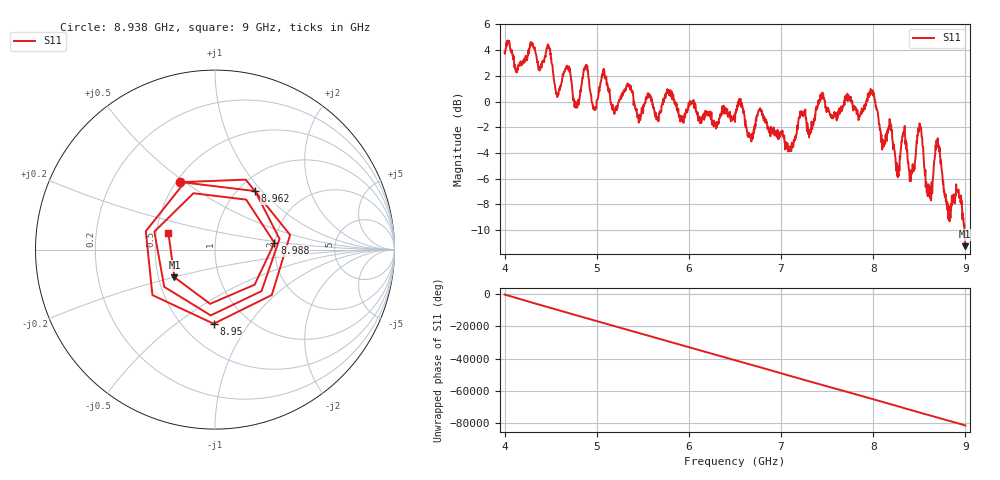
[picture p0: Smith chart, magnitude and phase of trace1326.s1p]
! Created with skrf 1.8.0 (http://scikit-rf.org).
# Hz S RI R 50.0
!freq ReS11 ImS11
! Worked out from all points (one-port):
!   1601 points, 4 GHz to 9 GHz, reference 50 ohm
!   lowest |S11| = -11.3 dB at 8.997 GHz (marker M1), VSWR 1.75, Z = 30.3 - j10.1 ohm
!   |S11| at or under -10 dB: 8.989291 GHz to end of sweep
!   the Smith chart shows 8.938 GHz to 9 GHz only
!   S11 on the Smith chart (normalised r, x): 8.938 GHz: 0.52, +0.48; 8.95 GHz: 0.70, -0.70; 8.962 GHz: 1.19, +0.92; 8.988 GHz: 1.98, +0.17; 9 GHz: 0.58, +0.11
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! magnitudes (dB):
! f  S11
! 4 GHz  3.8
! 4.475 GHz  4.4
! 4.562 GHz  0.7
! 4.625 GHz  1.8
! 4.781 GHz  -0.5
! 4.881 GHz  2.8
! 4.969 GHz  -0.5
! 5.25 GHz  0.2
! 5.875 GHz  -0.5
! 6.5 GHz  -1.6
! 7.125 GHz  -3.6
! 7.434 GHz  0.3
! 7.75 GHz  0.0
! 7.988 GHz  0.9
! 8.259 GHz  -5.3
! 8.328 GHz  -2.4
! 8.375 GHz  -4.6
! 8.422 GHz  -5.4
! 8.506 GHz  -1.8
! 8.603 GHz  -6.9
! 8.697 GHz  -3.2
! 8.812 GHz  -8.8
! 8.938 GHz  -7.5
! 8.95 GHz  -7.7
! 8.962 GHz  -8.1
! 8.988 GHz  -9.5
! 8.997 GHz  -11.3
! 9 GHz  -11.2
